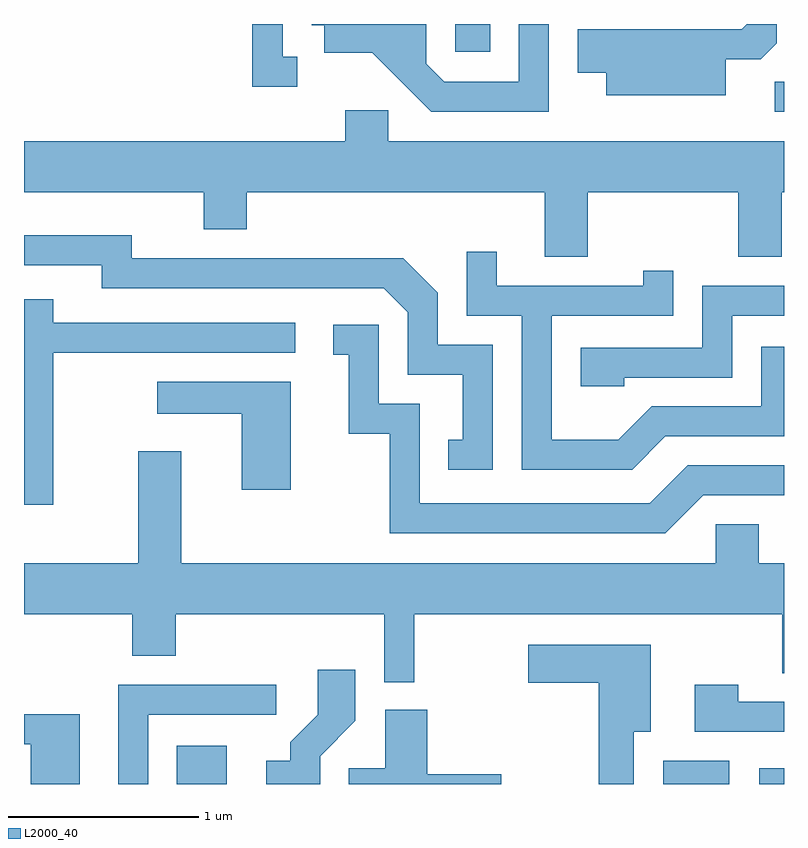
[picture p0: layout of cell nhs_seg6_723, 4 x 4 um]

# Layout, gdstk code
import gdstk
lib = gdstk.Library(unit=1e-6, precision=1e-09)
def R(c, l, rs):  # rectangles x0, y0, x1, y1
    for r in rs: c.add(gdstk.rectangle(r[:2], r[2:], *l))
def P(c, l, *ps):  # polygons
    for p in ps: c.add(gdstk.Polygon(p, *l))
L2000_40 = (2000, 40)

nhs_seg6_723 = lib.new_cell('nhs_seg6_723')
R(nhs_seg6_723, L2000_40, [(206.416,1640.162,206.679,1640.364), (208.976,1640.162,209.324,1640.284), (209.481,1640.162,209.611,1640.244), (209.563,1643.701,209.611,1643.859), (207.881,1644.016,208.064,1644.162)])
P(nhs_seg6_723, L2000_40, [(208.374,1644.162),(208.216,1644.162),(208.216,1643.859),(207.822,1643.859),(207.729,1643.952),(207.729,1644.162),(207.126,1644.162),(207.126,1644.156),(207.191,1644.156),(207.191,1644.011),(207.444,1644.011),(207.754,1643.701),(208.374,1643.701)],
  [(209.304,1643.976),(209.489,1643.976),(209.574,1644.062),(209.574,1644.162),(209.416,1644.162),(209.389,1644.134),(208.526,1644.134),(208.526,1643.906),(208.676,1643.906),(208.676,1643.786),(209.304,1643.786)],
  [(207.048,1643.989),(206.974,1643.989),(206.974,1644.162),(206.811,1644.162),(206.811,1643.831),(207.048,1643.831)],
  [(208.579,1643.276),(209.371,1643.276),(209.371,1642.936),(209.599,1642.936),(209.599,1643.276),(209.611,1643.276),(209.611,1643.544),(207.529,1643.544),(207.529,1643.709),(207.301,1643.709),(207.301,1643.544),(205.611,1643.544),(205.611,1643.276),(206.556,1643.276),(206.556,1643.081),(206.784,1643.081),(206.784,1643.276),(208.351,1643.276),(208.351,1642.936),(208.579,1642.936)],
  [(208.079,1642.474),(207.789,1642.474),(207.789,1642.747),(207.607,1642.929),(206.179,1642.929),(206.179,1643.049),(205.611,1643.049),(205.611,1642.891),(206.021,1642.891),(206.021,1642.771),(207.504,1642.771),(207.631,1642.644),(207.631,1642.316),(207.921,1642.316),(207.921,1641.974),(207.843,1641.974),(207.843,1641.816),(208.079,1641.816)],
  [(208.987,1641.991),(209.611,1641.991),(209.611,1642.464),(209.491,1642.464),(209.491,1642.149),(208.914,1642.149),(208.739,1641.974),(208.389,1641.974),(208.389,1642.626),(209.029,1642.626),(209.029,1642.863),(208.871,1642.863),(208.871,1642.784),(208.099,1642.784),(208.099,1642.963),(207.941,1642.963),(207.941,1642.626),(208.231,1642.626),(208.231,1641.816),(208.812,1641.816)],
  [(208.769,1642.301),(209.339,1642.301),(209.339,1642.626),(209.611,1642.626),(209.611,1642.784),(209.181,1642.784),(209.181,1642.459),(208.541,1642.459),(208.541,1642.256),(208.769,1642.256)],
  [(205.764,1642.431),(207.038,1642.431),(207.038,1642.589),(205.764,1642.589),(205.764,1642.713),(205.611,1642.713),(205.611,1641.633),(205.764,1641.633)],
  [(209.187,1641.681),(209.611,1641.681),(209.611,1641.839),(209.104,1641.839),(208.904,1641.639),(207.694,1641.639),(207.694,1642.164),(207.479,1642.164),(207.479,1642.579),(207.238,1642.579),(207.238,1642.421),(207.321,1642.421),(207.321,1642.006),(207.536,1642.006),(207.536,1641.481),(208.987,1641.481)],
  [(207.014,1642.279),(206.313,1642.279),(206.313,1642.111),(206.756,1642.111),(206.756,1641.711),(207.014,1641.711)],
  [(207.664,1641.056),(209.601,1641.056),(209.601,1640.746),(209.611,1640.746),(209.611,1641.324),(209.479,1641.324),(209.479,1641.529),(209.251,1641.529),(209.251,1641.324),(206.439,1641.324),(206.439,1641.914),(206.211,1641.914),(206.211,1641.324),(205.611,1641.324),(205.611,1641.056),(206.181,1641.056),(206.181,1640.836),(206.409,1640.836),(206.409,1641.056),(207.506,1641.056),(207.506,1640.698),(207.664,1640.698)],
  [(208.819,1640.436),(208.909,1640.436),(208.909,1640.894),(208.266,1640.894),(208.266,1640.696),(208.636,1640.696),(208.636,1640.162),(208.819,1640.162)],
  [(207.169,1640.309),(207.354,1640.494),(207.354,1640.764),(207.156,1640.764),(207.156,1640.527),(207.011,1640.382),(207.011,1640.284),(206.886,1640.284),(206.886,1640.162),(207.169,1640.162)],
  [(206.264,1640.526),(206.938,1640.526),(206.938,1640.684),(206.106,1640.684),(206.106,1640.162),(206.264,1640.162)],
  [(209.611,1640.594),(209.369,1640.594),(209.369,1640.684),(209.141,1640.684),(209.141,1640.436),(209.611,1640.436)],
  [(208.124,1640.214),(207.734,1640.214),(207.734,1640.554),(207.511,1640.554),(207.511,1640.244),(207.321,1640.244),(207.321,1640.162),(208.124,1640.162)],
  [(205.904,1640.529),(205.611,1640.529),(205.611,1640.371),(205.646,1640.371),(205.646,1640.162),(205.904,1640.162)])

lib.write_gds('nhs_seg6_723.gds')
